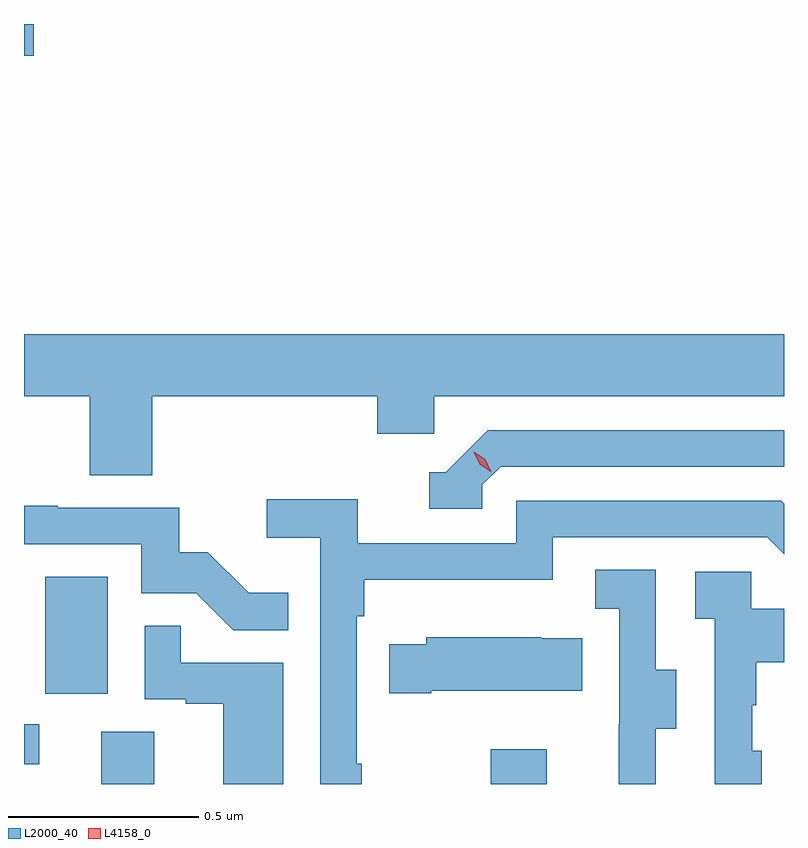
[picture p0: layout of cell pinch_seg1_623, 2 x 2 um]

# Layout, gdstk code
import gdstk
lib = gdstk.Library(unit=1e-6, precision=1e-09)
def R(c, l, rs):  # rectangles x0, y0, x1, y1
    for r in rs: c.add(gdstk.rectangle(r[:2], r[2:], *l))
def P(c, l, *ps):  # polygons
    for p in ps: c.add(gdstk.Polygon(p, *l))
L2000_40 = (2000, 40)
L4158_0 = (4158, 0)

pinch_seg1_623 = lib.new_cell('pinch_seg1_623')
R(pinch_seg1_623, L2000_40, [(1114.739,508.088,1114.879,508.226), (1115.764,508.088,1115.911,508.18), (1114.536,508.14,1114.576,508.245), (1114.592,508.326,1114.756,508.633), (1114.536,510.005,1114.561,510.088)])
P(pinch_seg1_623, L2000_40, [(1114.874,509.108),(1115.465,509.108),(1115.465,509.01),(1115.616,509.01),(1115.616,509.108),(1116.536,509.108),(1116.536,509.272),(1114.536,509.272),(1114.536,509.108),(1114.709,509.108),(1114.709,508.9),(1114.874,508.9)],
  [(1115.742,508.875),(1115.79,508.923),(1116.536,508.923),(1116.536,509.019),(1115.757,509.019),(1115.646,508.908),(1115.603,508.908),(1115.603,508.812),(1115.742,508.812)],
  [(1115.425,508.141),(1115.412,508.141),(1115.412,508.529),(1115.432,508.529),(1115.432,508.625),(1115.928,508.625),(1115.928,508.737),(1116.492,508.737),(1116.536,508.693),(1116.536,508.826),(1116.529,508.833),(1115.832,508.833),(1115.832,508.722),(1115.414,508.722),(1115.414,508.838),(1115.175,508.838),(1115.175,508.736),(1115.316,508.736),(1115.316,508.088),(1115.425,508.088)],
  [(1115.231,508.591),(1115.127,508.591),(1115.02,508.698),(1114.944,508.698),(1114.944,508.815),(1114.625,508.815),(1114.625,508.82),(1114.536,508.82),(1114.536,508.719),(1114.845,508.719),(1114.845,508.59),(1114.989,508.59),(1115.087,508.492),(1115.231,508.492)],
  [(1116.199,508.234),(1116.253,508.234),(1116.253,508.389),(1116.198,508.389),(1116.198,508.652),(1116.039,508.652),(1116.039,508.549),(1116.102,508.549),(1116.102,508.245),(1116.101,508.245),(1116.101,508.088),(1116.199,508.088)],
  [(1116.478,508.176),(1116.453,508.176),(1116.453,508.295),(1116.463,508.295),(1116.463,508.409),(1116.536,508.409),(1116.536,508.549),(1116.45,508.549),(1116.45,508.647),(1116.303,508.647),(1116.303,508.523),(1116.354,508.523),(1116.354,508.088),(1116.478,508.088)],
  [(1115.218,508.407),(1114.949,508.407),(1114.949,508.505),(1114.854,508.505),(1114.854,508.311),(1114.961,508.311),(1114.961,508.299),(1115.06,508.299),(1115.06,508.088),(1115.218,508.088)],
  [(1115.608,508.334),(1116.005,508.334),(1116.005,508.471),(1115.897,508.471),(1115.897,508.474),(1115.595,508.474),(1115.595,508.456),(1115.497,508.456),(1115.497,508.327),(1115.608,508.327)])
P(pinch_seg1_623, L4158_0, [(1115.765,508.909),(1115.735,508.929),(1115.72,508.961),(1115.72,508.962),(1115.72,508.962),(1115.75,508.942),(1115.765,508.909),(1115.765,508.909)])

lib.write_gds('pinch_seg1_623.gds')
